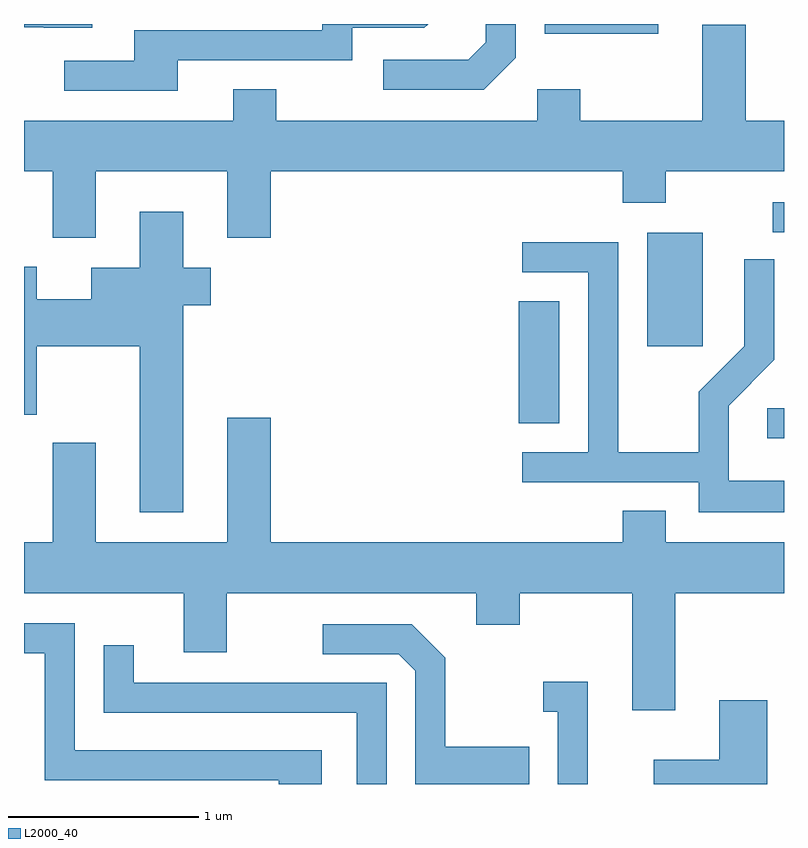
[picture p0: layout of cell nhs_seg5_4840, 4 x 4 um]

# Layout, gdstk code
import gdstk
lib = gdstk.Library(unit=1e-6, precision=1e-09)
def R(c, l, rs):  # rectangles x0, y0, x1, y1
    for r in rs: c.add(gdstk.rectangle(r[:2], r[2:], *l))
def P(c, l, *ps):  # polygons
    for p in ps: c.add(gdstk.Polygon(p, *l))
L2000_40 = (2000, 40)

nhs_seg5_4840 = lib.new_cell('nhs_seg5_4840')
R(nhs_seg5_4840, L2000_40, [(333.523,1399.891,333.611,1400.049), (332.216,1399.971,332.429,1400.614), (332.891,1400.376,333.184,1400.974), (333.553,1400.976,333.611,1401.134), (332.351,1402.021,332.949,1402.072)])
P(nhs_seg5_4840, L2000_40, [(330.419,1401.881),(331.339,1401.881),(331.339,1402.051),(331.717,1402.051),(331.738,1402.072),(331.181,1402.072),(331.181,1402.039),(330.191,1402.039),(330.191,1401.879),(329.823,1401.879),(329.823,1401.721),(330.419,1401.721)],
  [(329.969,1402.072),(329.611,1402.072),(329.611,1402.056),(329.715,1402.056),(329.715,1402.051),(329.969,1402.051)],
  [(332.199,1401.894),(332.199,1402.072),(332.041,1402.072),(332.041,1401.977),(331.949,1401.884),(331.503,1401.884),(331.503,1401.726),(332.032,1401.726)],
  [(329.989,1401.296),(330.681,1401.296),(330.681,1400.946),(330.909,1400.946),(330.909,1401.296),(332.761,1401.296),(332.761,1401.131),(332.989,1401.131),(332.989,1401.296),(333.611,1401.296),(333.611,1401.564),(333.409,1401.564),(333.409,1402.069),(333.181,1402.069),(333.181,1401.564),(332.539,1401.564),(332.539,1401.729),(332.311,1401.729),(332.311,1401.564),(330.939,1401.564),(330.939,1401.729),(330.711,1401.729),(330.711,1401.564),(329.611,1401.564),(329.611,1401.296),(329.761,1401.296),(329.761,1400.946),(329.989,1400.946)],
  [(330.449,1400.591),(330.594,1400.591),(330.594,1400.789),(330.449,1400.789),(330.449,1401.084),(330.221,1401.084),(330.221,1400.789),(329.966,1400.789),(329.966,1400.624),(329.679,1400.624),(329.679,1400.794),(329.611,1400.794),(329.611,1400.016),(329.679,1400.016),(329.679,1400.376),(330.221,1400.376),(330.221,1399.501),(330.449,1399.501)],
  [(333.611,1399.669),(333.319,1399.669),(333.319,1400.064),(333.559,1400.304),(333.559,1400.833),(333.401,1400.833),(333.401,1400.377),(333.161,1400.137),(333.161,1399.819),(332.739,1399.819),(332.739,1400.924),(332.233,1400.924),(332.233,1400.766),(332.581,1400.766),(332.581,1399.819),(332.233,1399.819),(332.233,1399.661),(333.161,1399.661),(333.161,1399.501),(333.611,1399.501)],
  [(333.039,1399.076),(333.611,1399.076),(333.611,1399.344),(332.989,1399.344),(332.989,1399.509),(332.761,1399.509),(332.761,1399.344),(330.909,1399.344),(330.909,1399.999),(330.681,1399.999),(330.681,1399.344),(329.989,1399.344),(329.989,1399.869),(329.761,1399.869),(329.761,1399.344),(329.611,1399.344),(329.611,1399.076),(330.451,1399.076),(330.451,1398.766),(330.679,1398.766),(330.679,1399.076),(331.991,1399.076),(331.991,1398.911),(332.219,1398.911),(332.219,1399.076),(332.811,1399.076),(332.811,1398.461),(333.039,1398.461)],
  [(331.179,1398.249),(329.879,1398.249),(329.879,1398.919),(329.611,1398.919),(329.611,1398.761),(329.721,1398.761),(329.721,1398.091),(330.951,1398.091),(330.951,1398.072),(331.179,1398.072)],
  [(332.269,1398.269),(331.829,1398.269),(331.829,1398.737),(331.652,1398.914),(331.183,1398.914),(331.183,1398.756),(331.584,1398.756),(331.671,1398.669),(331.671,1398.072),(332.269,1398.072)],
  [(331.519,1398.604),(330.189,1398.604),(330.189,1398.803),(330.031,1398.803),(330.031,1398.446),(331.361,1398.446),(331.361,1398.072),(331.519,1398.072)],
  [(332.579,1398.609),(332.343,1398.609),(332.343,1398.451),(332.421,1398.451),(332.421,1398.072),(332.579,1398.072)],
  [(333.524,1398.514),(333.271,1398.514),(333.271,1398.199),(332.926,1398.199),(332.926,1398.072),(333.524,1398.072)])

lib.write_gds('nhs_seg5_4840.gds')
